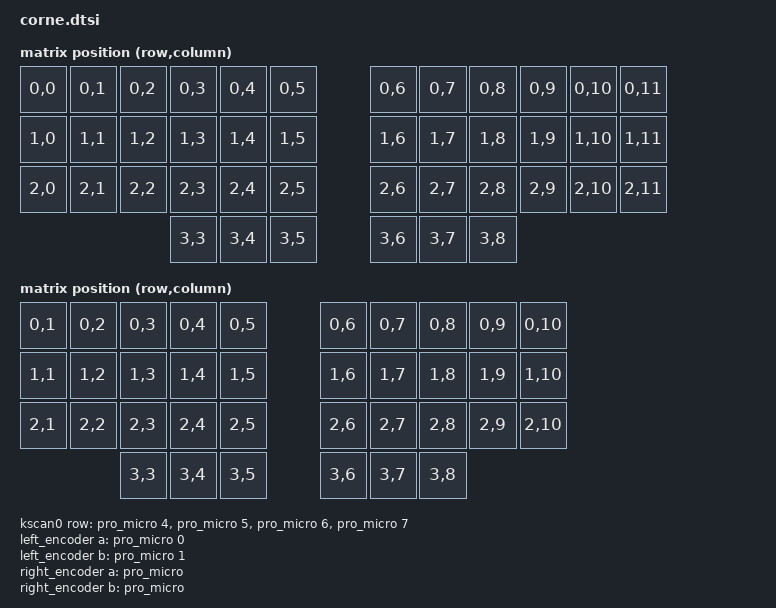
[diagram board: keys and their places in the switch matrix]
#include <dt-bindings/zmk/matrix_transform.h>
#include <layouts/foostan/corne/5column.dtsi>
#include <layouts/foostan/corne/6column.dtsi>

&foostan_corne_6col_layout {
    transform = <&default_transform>;
};

&foostan_corne_5col_layout {
    transform = <&five_column_transform>;
};

/ {
    chosen {
        zephyr,display = &oled;
        zmk,kscan = &kscan0;
        zmk,physical-layout = &foostan_corne_6col_layout;
    };

    default_transform: keymap_transform_0 {
        compatible = "zmk,matrix-transform";
        columns = <12>;
        rows = <4>;
        map = <
RC(0,0) RC(0,1) RC(0,2) RC(0,3) RC(0,4) RC(0,5)  RC(0,6) RC(0,7) RC(0,8) RC(0,9) RC(0,10) RC(0,11)
RC(1,0) RC(1,1) RC(1,2) RC(1,3) RC(1,4) RC(1,5)  RC(1,6) RC(1,7) RC(1,8) RC(1,9) RC(1,10) RC(1,11)
RC(2,0) RC(2,1) RC(2,2) RC(2,3) RC(2,4) RC(2,5)  RC(2,6) RC(2,7) RC(2,8) RC(2,9) RC(2,10) RC(2,11)
                        RC(3,3) RC(3,4) RC(3,5)  RC(3,6) RC(3,7) RC(3,8)
        >;
    };

    five_column_transform: keymap_transform_1 {
        compatible = "zmk,matrix-transform";
        columns = <10>;
        rows = <4>;
        map = <
RC(0,1) RC(0,2) RC(0,3) RC(0,4) RC(0,5)  RC(0,6) RC(0,7) RC(0,8) RC(0,9) RC(0,10)
RC(1,1) RC(1,2) RC(1,3) RC(1,4) RC(1,5)  RC(1,6) RC(1,7) RC(1,8) RC(1,9) RC(1,10)
RC(2,1) RC(2,2) RC(2,3) RC(2,4) RC(2,5)  RC(2,6) RC(2,7) RC(2,8) RC(2,9) RC(2,10)
                        RC(3,3) RC(3,4) RC(3,5)  RC(3,6) RC(3,7) RC(3,8)
        >;
    };

    kscan0: kscan {
        compatible = "zmk,kscan-gpio-matrix";
        wakeup-source;
        diode-direction = "col2row";
        row-gpios
            = <&pro_micro 4 (GPIO_ACTIVE_HIGH | GPIO_PULL_DOWN)>
            , <&pro_micro 5 (GPIO_ACTIVE_HIGH | GPIO_PULL_DOWN)>
            , <&pro_micro 6 (GPIO_ACTIVE_HIGH | GPIO_PULL_DOWN)>
            , <&pro_micro 7 (GPIO_ACTIVE_HIGH | GPIO_PULL_DOWN)>
            ;
    };

    left_encoder: encoder_left {
        compatible = "alps,ec11";
        a-gpios = <&pro_micro 0 (GPIO_PULL_UP | GPIO_ACTIVE_HIGH)>;
        b-gpios = <&pro_micro 1 (GPIO_PULL_UP | GPIO_ACTIVE_HIGH)>;
        steps = <60>;
        status = "disabled";
    };
    
    right_encoder: encoder_right {
        compatible = "alps,ec11";
        a-gpios = <&pro_micro 0(GPIO_PULL_UP | GPIO_ACTIVE_HIGH)>; #P0.06 aka &gpio0 6
        b-gpios = <&pro_micro 1(GPIO_PULL_UP | GPIO_ACTIVE_HIGH)>; #P0.08 aka &gpio0 8
        steps = <60>;
        status = "disabled";
    };
    
    encoder_switches {
        compatible = "gpio-keys";
        
        left_encoder_switch: button_0 {
            gpios = <&pro_micro 2 (GPIO_PULL_UP | GPIO_ACTIVE_LOW)>;
        };
        
        right_encoder_switch: button_1 {
            gpios = <&pro_micro 2 (GPIO_PULL_UP | GPIO_ACTIVE_LOW)>; #P0.17 aka &gpio0 17
        };
    };
    
    sensors: sensors {
        compatible = "zmk,keymap-sensors";
        sensors = <&left_encoder &right_encoder>;
        triggers-per-rotation = <15>;
    };
};
